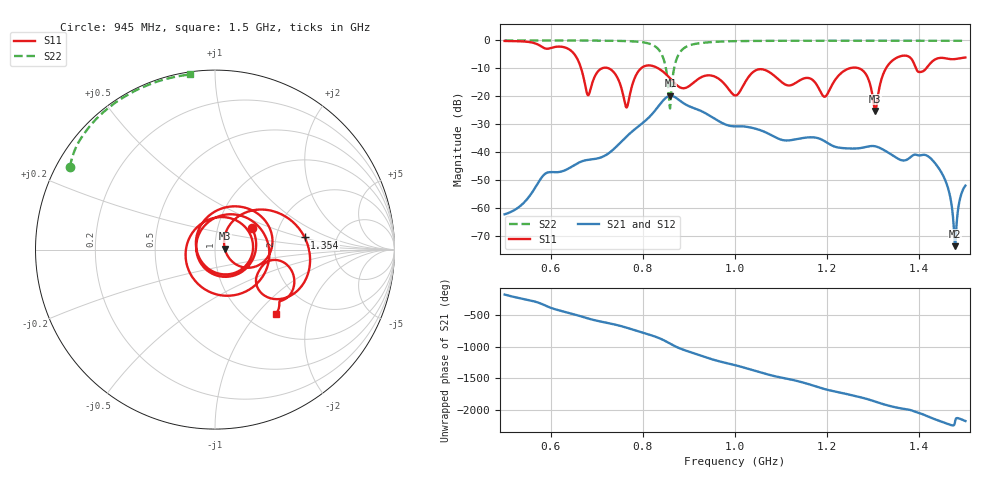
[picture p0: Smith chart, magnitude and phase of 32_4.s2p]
! TOUCHSTONE file generated by CST MICROWAVE STUDIO
! Date and time: Sat Nov 14 20:02:44 2020
! Project name: Scenario_1_Planar_Body_Tissue_Out_of_Line.cst
! Parameters = {dy1=-190.3; L_HA=400; Ltissue=700; MT=2.54; Rad_Dielectric=30; Rad_Lower=7.3; Rad_Upper=30; Wtissue=700; a_HA=580; a_WG=246; b_HA=500; b_WG=121; c_HA=0; c_WG=187; d_feed=85; dx1=693; h_feed=15; h_lower=18; h_upper=40; hfat=3; hgap=25; hmuscle=50; hskin=1.5}
! Header version: 2018
! Port assignment regex: !\s*Touchstone port\s*([0-9]+)\s*=\s*(CST MWS port|CST DS port)\s*([0-9]+|Zmin|Zmax)\s*\(\"(.*)\"\)(\s*mode\s*([0-9]+))?.*
! Touchstone port assignment:
! Touchstone port 1 = CST MWS port 1 ("")
! Touchstone port 2 = CST MWS port 2 ("")
# GHz S DB R 50
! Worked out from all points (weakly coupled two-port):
!   1003 points, 500 MHz to 1.5 GHz, reference 50 ohm
!   highest |S21| = -19.77 dB at 860 MHz (marker M1); lowest = -73.5 dB at 1.478 GHz (marker M2)
!   lowest |S11| = -25.2 dB at 1.304 GHz (marker M3), VSWR 1.12, Z = 55.8 + j0.576 ohm
!   |S11| at or under -10 dB: 726.2 MHz to 795.9 MHz (69.73 MHz wide, 9.16 % of centre); 833.7 MHz to 1.248 GHz (414.2 MHz wide, 39.8 % of centre); 1.27 GHz to 1.328 GHz (58.05 MHz wide, 4.47 % of centre) (the widest 3 of 5)
!   |S22| runs from -24.3 to 0.0 dB; largest |S21 - S12| = 9.9e-06
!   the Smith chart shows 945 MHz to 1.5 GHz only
!   S11 on the Smith chart (normalised r, x): 945 MHz: 1.45, +0.38; 1.354 GHz: 2.93, +0.53; 1.5 GHz: 1.34, -1.27
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0.5  -0.19 -121.6  -62.14 -176.3  -62.14 -176.3  -0.01 151.2
0.621  -2.21 173.7  -46.94 -71.1  -46.94 -71.1  -0.02 142.5
0.667  -10.49 107.4  -43.25 -163.4  -43.25 -163.4  -0.04 138.4
0.682  -19.55 150.9  -42.65 164.1  -42.65 164.1  -0.05 136.9
0.731  -10.45 120.4  -39.68 84.2  -39.68 84.2  -0.11 130.8
0.765  -23.94 -36.1  -34.26 20.5  -34.26 20.5  -0.23 124.4
0.798  -9.72 161.3  -29.71 -53.4  -29.71 -53.4  -0.62 113.8
0.834  -10.03 62.9  -23.50 -139.7  -23.50 -139.7  -3.20 85.1
0.86  -13.70 -13.7  -19.77 126.2  -19.77 126.2  -22.62 -84.0
0.882  -16.87 -92.1  -21.71 49.6  -21.71 49.6  -3.92 -173.4
0.945  -12.47 31.1  -26.90 -106.5  -26.90 -106.5  -0.63 150.4
1  -19.67 -163.2  -30.70 150.8  -30.70 150.8  -0.26 140.3
1.051  -10.33 -5.8  -31.86 45.0  -31.86 45.0  -0.17 134.4
1.105  -15.35 -162.4  -35.66 -52.2  -35.66 -52.2  -0.12 129.3
1.167  -13.94 -18.4  -34.61 -165.3  -34.61 -165.3  -0.09 124.3
1.27  -10.03 1.0  -38.51 7.6  -38.51 7.6  -0.08 116.4
1.304  -25.24 5.4  -37.82 -64.3  -37.82 -64.3  -0.09 113.8
1.334  -8.46 35.2  -40.23 -130.1  -40.23 -130.1  -0.09 111.6
1.354  -5.94 7.7  -42.30 -163.6  -42.30 -163.6  -0.09 110.1
1.434  -6.82 -17.4  -43.84 16.3  -43.84 16.3  -0.10 103.7
1.478  -6.65 -39.6  -73.53 -6.2  -73.44 -5.8  -0.12 100.0
1.5  -6.11 -46.5  -51.89 -11.2  -51.89 -11.2  -0.13 98.0
